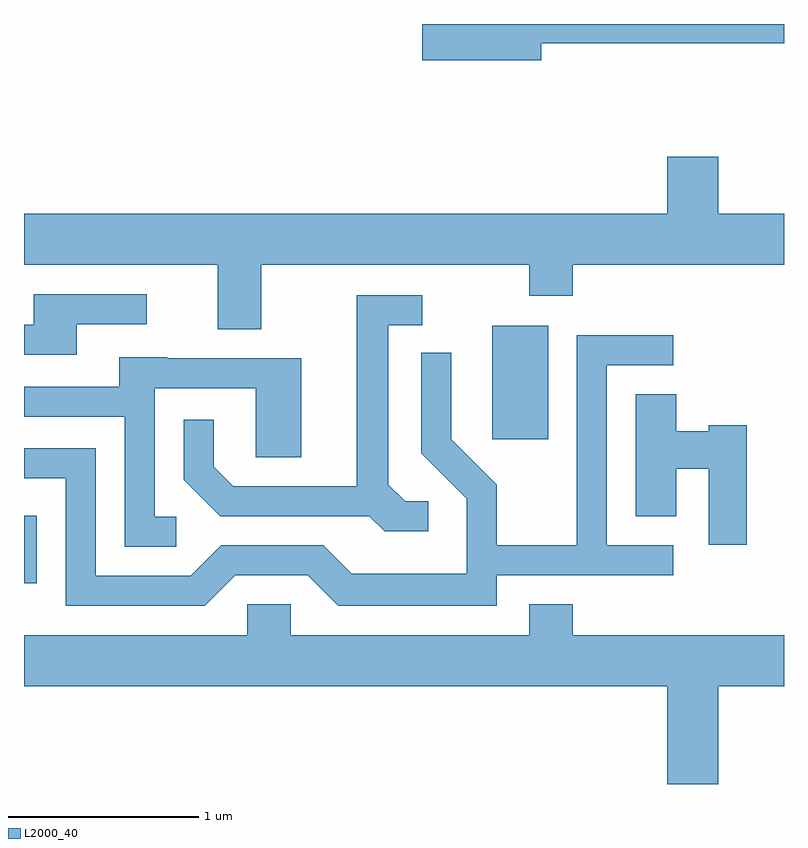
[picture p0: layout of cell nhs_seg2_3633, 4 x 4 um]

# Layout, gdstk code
import gdstk
lib = gdstk.Library(unit=1e-6, precision=1e-09)
def R(c, l, rs):  # rectangles x0, y0, x1, y1
    for r in rs: c.add(gdstk.rectangle(r[:2], r[2:], *l))
def P(c, l, *ps):  # polygons
    for p in ps: c.add(gdstk.Polygon(p, *l))
L2000_40 = (2000, 40)

nhs_seg2_3633 = lib.new_cell('nhs_seg2_3633')
R(nhs_seg2_3633, L2000_40, [(291.611,1048.858,291.679,1049.214), (294.076,1049.616,294.369,1050.214)])
P(nhs_seg2_3633, L2000_40, [(294.334,1051.701),(295.611,1051.701),(295.611,1051.802),(293.706,1051.802),(293.706,1051.611),(294.334,1051.611)],
  [(292.859,1050.536),(294.271,1050.536),(294.271,1050.371),(294.499,1050.371),(294.499,1050.536),(295.611,1050.536),(295.611,1050.804),(295.264,1050.804),(295.264,1051.104),(294.996,1051.104),(294.996,1050.804),(291.611,1050.804),(291.611,1050.536),(292.631,1050.536),(292.631,1050.196),(292.859,1050.196)],
  [(291.889,1050.221),(292.258,1050.221),(292.258,1050.379),(291.661,1050.379),(291.661,1050.219),(291.611,1050.219),(291.611,1050.061),(291.889,1050.061)],
  [(293.738,1049.289),(293.617,1049.289),(293.529,1049.377),(293.529,1050.216),(293.708,1050.216),(293.708,1050.374),(293.361,1050.374),(293.361,1049.369),(292.712,1049.369),(292.609,1049.472),(292.609,1049.718),(292.451,1049.718),(292.451,1049.404),(292.644,1049.211),(293.429,1049.211),(293.509,1049.131),(293.738,1049.131)],
  [(292.722,1048.901),(293.104,1048.901),(293.264,1048.741),(294.099,1048.741),(294.099,1048.901),(295.028,1048.901),(295.028,1049.059),(294.679,1049.059),(294.679,1050.006),(295.028,1050.006),(295.028,1050.164),(294.521,1050.164),(294.521,1049.059),(294.099,1049.059),(294.099,1049.377),(293.859,1049.617),(293.859,1050.073),(293.701,1050.073),(293.701,1049.544),(293.941,1049.304),(293.941,1048.909),(293.337,1048.909),(293.187,1049.059),(292.649,1049.059),(292.489,1048.899),(291.989,1048.899),(291.989,1049.569),(291.611,1049.569),(291.611,1049.411),(291.831,1049.411),(291.831,1048.741),(292.562,1048.741)],
  [(292.413,1049.209),(292.299,1049.209),(292.299,1049.886),(292.831,1049.886),(292.831,1049.521),(293.069,1049.521),(293.069,1050.044),(292.365,1050.044),(292.365,1050.049),(292.111,1050.049),(292.111,1049.894),(291.611,1049.894),(291.611,1049.736),(292.141,1049.736),(292.141,1049.051),(292.413,1049.051)],
  [(295.414,1049.689),(295.216,1049.689),(295.216,1049.659),(295.044,1049.659),(295.044,1049.854),(294.831,1049.854),(294.831,1049.211),(295.044,1049.211),(295.044,1049.461),(295.216,1049.461),(295.216,1049.061),(295.414,1049.061)],
  [(295.264,1048.316),(295.611,1048.316),(295.611,1048.584),(294.499,1048.584),(294.499,1048.749),(294.271,1048.749),(294.271,1048.584),(293.014,1048.584),(293.014,1048.749),(292.786,1048.749),(292.786,1048.584),(291.611,1048.584),(291.611,1048.316),(294.996,1048.316),(294.996,1047.802),(295.264,1047.802)])

lib.write_gds('nhs_seg2_3633.gds')
